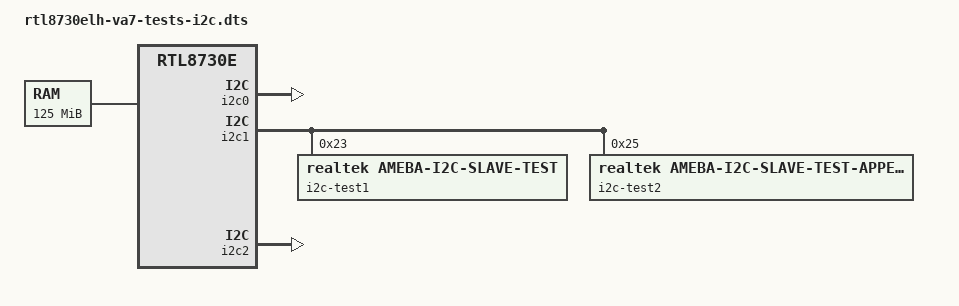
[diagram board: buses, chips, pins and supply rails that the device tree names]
// SPDX-License-Identifier: GPL-2.0-only
/*
* Realtek DTS for I2C test
*
* Copyright (C) 2023, Realtek Corporation. All rights reserved.
*/

/dts-v1/;

#include "rtl8730e.dtsi"
#include "rtl8730e-spi-nand-128m.dtsi"

/ {
	memory {
		device_type = "memory";
		// DRAM base address should be 1MB-aligned.
		reg = <0x60300000 0x7D00000>;  // 128MB -- exclude 3MB secure memory
	};
};

// Configure peripherals.
&i2c0 {
	pinctrl-names = "default";
	pinctrl-0 = <&i2c0_pins>;
	rtk,i2c-reg-slave-num = <0>; // I2C master
	status = "okay";
};

&i2c1 {
	pinctrl-names = "default";
	pinctrl-0 = <&i2c1_pins>;
	#address-cells = <1>; // For i2c bus address
	#size-cells = <0>; // Only reg address is needed
	rtk,i2c-reg-slave-num = <2>; // I2C slaves
	status = "okay";

	i2c-test1 {
		compatible = "realtek,ameba-i2c-slave-test";
		reg = <0x23>;
		};
	i2c-test2 {
		compatible = "realtek,ameba-i2c-slave-test-append";
		reg = <0x25>;
	};
};

&i2c2 {
	#address-cells = <1>;
	#size-cells = <0>;
	pinctrl-names = "default";
	pinctrl-0 = <&i2c2_pins>;
	status = "okay";
};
